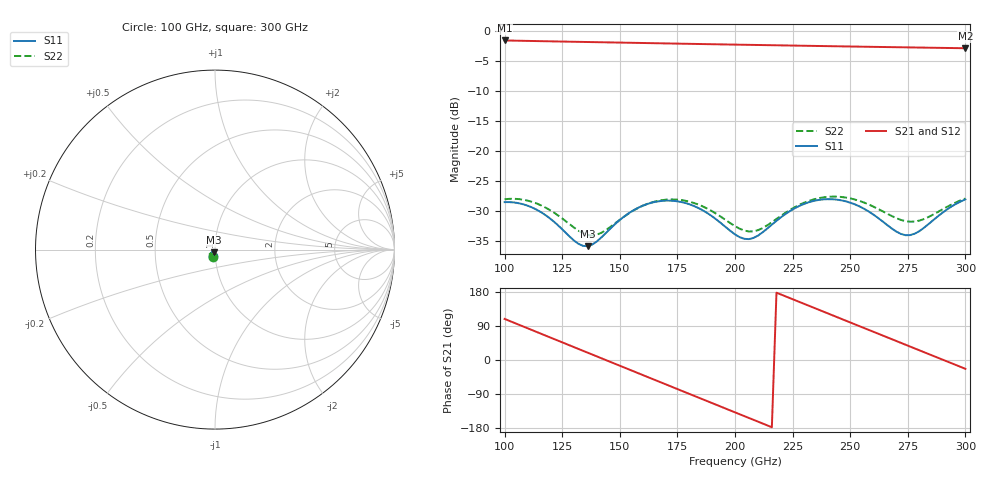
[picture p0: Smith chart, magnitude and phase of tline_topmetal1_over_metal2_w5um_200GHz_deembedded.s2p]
! Created with skrf 2.2.0 (http://scikit-rf.org).
# GHz S DB R 50.0
! Port[1] = P1
! Port[2] = P2
!freq dBS11 angS11 dBS21 angS21 dBS12 angS12 dBS22 angS22
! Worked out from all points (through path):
!   101 points, 100 GHz to 300 GHz, reference 50 ohm
!   highest |S21| = -1.51 dB at 100 GHz (marker M1); lowest = -2.8 dB at 300 GHz (marker M2)
!   group delay of S21, straight-line fit = 6.83 ps
!   lowest |S11| = -35.8 dB at 136 GHz (marker M3), VSWR 1.03, Z = 49.4 - j1.5 ohm
!   |S11| at or under -10 dB: start of sweep to end of sweep
!   |S22| runs from -34.0 to -27.6 dB; largest |S21 - S12| = 8.7e-14
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100  -28.49 -103.4  -1.51 108.4  -1.51 108.4  -28.01 -102.6
108  -28.84 -117.6  -1.56 88.6  -1.56 88.6  -28.08 -116.2
116  -30.21 -129.3  -1.62 68.8  -1.62 68.8  -29.06 -127.7
126  -33.40 -133.5  -1.70 44.1  -1.70 44.1  -31.51 -134.1
134  -35.79 -117.1  -1.75 24.4  -1.75 24.4  -33.67 -125.7
136  -35.84 -110.4  -1.76 19.4  -1.76 19.4  -33.96 -121.2
144  -33.63 -91.9  -1.82 -0.3  -1.82 -0.3  -33.14 -103.8
152  -30.85 -92.0  -1.87 -20.0  -1.87 -20.0  -30.87 -99.2
168  -28.29 -112.3  -1.98 -59.5  -1.98 -59.5  -28.17 -114.0
176  -28.42 -124.2  -2.04 -79.1  -2.04 -79.1  -28.11 -124.4
184  -29.45 -134.4  -2.09 -98.8  -2.09 -98.8  -28.88 -133.5
200  -33.87 -132.8  -2.20 -138.1  -2.20 -138.1  -32.49 -134.3
208  -34.47 -112.0  -2.25 -157.8  -2.25 -157.8  -33.36 -118.3
216  -32.25 -99.1  -2.30 -177.4  -2.30 -177.4  -31.84 -104.9
224  -29.94 -100.4  -2.35 162.9  -2.35 162.9  -29.76 -103.4
234  -28.30 -110.9  -2.41 138.4  -2.41 138.4  -28.05 -111.1
244  -28.06 -124.0  -2.48 113.9  -2.48 113.9  -27.57 -122.1
252  -28.85 -133.5  -2.53 94.3  -2.53 94.3  -28.05 -130.3
268  -32.88 -134.4  -2.62 55.1  -2.62 55.1  -30.80 -133.3
276  -33.99 -115.4  -2.67 35.5  -2.67 35.5  -31.75 -122.5
284  -32.15 -99.1  -2.71 15.9  -2.71 15.9  -30.96 -110.4
300  -28.03 -103.6  -2.80 -23.3  -2.80 -23.3  -27.89 -110.3
